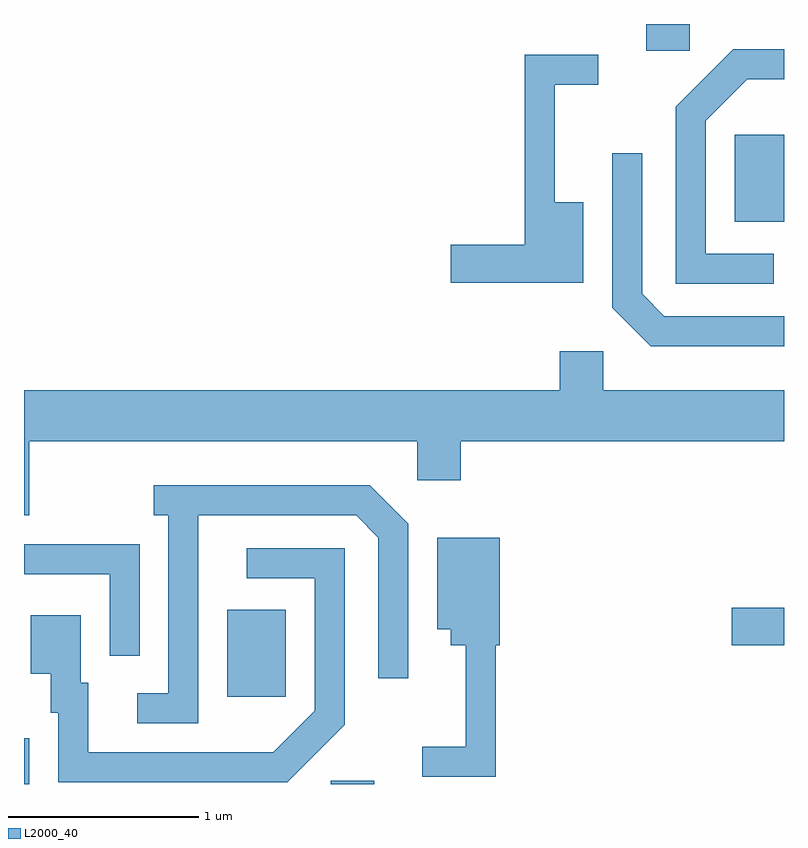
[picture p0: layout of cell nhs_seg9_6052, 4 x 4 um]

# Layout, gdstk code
import gdstk
lib = gdstk.Library(unit=1e-6, precision=1e-09)
def R(c, l, rs):  # rectangles x0, y0, x1, y1
    for r in rs: c.add(gdstk.rectangle(r[:2], r[2:], *l))
def P(c, l, *ps):  # polygons
    for p in ps: c.add(gdstk.Polygon(p, *l))
L2000_40 = (2000, 40)

nhs_seg9_6052 = lib.new_cell('nhs_seg9_6052')
R(nhs_seg9_6052, L2000_40, [(363.611,2014.432,363.639,2014.674), (365.226,2014.432,365.454,2014.449), (364.681,2014.891,364.989,2015.349), (367.336,2015.161,367.611,2015.359), (367.351,2017.391,367.611,2017.849), (366.886,2018.291,367.114,2018.432)])
P(nhs_seg9_6052, L2000_40, [(367.558,2017.224),(367.199,2017.224),(367.199,2017.924),(367.417,2018.141),(367.611,2018.141),(367.611,2018.299),(367.344,2018.299),(367.041,2017.997),(367.041,2017.066),(367.558,2017.066)],
  [(366.554,2017.494),(366.404,2017.494),(366.404,2018.111),(366.633,2018.111),(366.633,2018.269),(366.246,2018.269),(366.246,2017.269),(365.856,2017.269),(365.856,2017.071),(366.554,2017.071)],
  [(367.611,2016.894),(366.982,2016.894),(366.864,2017.012),(366.864,2017.753),(366.706,2017.753),(366.706,2016.939),(366.909,2016.736),(367.611,2016.736)],
  [(363.639,2016.236),(365.681,2016.236),(365.681,2016.031),(365.909,2016.031),(365.909,2016.236),(367.611,2016.236),(367.611,2016.504),(366.659,2016.504),(366.659,2016.709),(366.431,2016.709),(366.431,2016.504),(363.611,2016.504),(363.611,2015.846),(363.639,2015.846)],
  [(364.529,2015.846),(365.359,2015.846),(365.476,2015.729),(365.476,2014.988),(365.634,2014.988),(365.634,2015.802),(365.432,2016.004),(364.293,2016.004),(364.293,2015.846),(364.371,2015.846),(364.371,2014.909),(364.208,2014.909),(364.208,2014.751),(364.529,2014.751)],
  [(366.094,2015.161),(366.114,2015.161),(366.114,2015.729),(365.786,2015.729),(365.786,2015.246),(365.856,2015.246),(365.856,2015.161),(365.936,2015.161),(365.936,2014.629),(365.708,2014.629),(365.708,2014.471),(366.094,2014.471)],
  [(364.219,2015.694),(363.611,2015.694),(363.611,2015.536),(364.061,2015.536),(364.061,2015.108),(364.219,2015.108)],
  [(365.299,2014.744),(365.299,2015.674),(364.783,2015.674),(364.783,2015.516),(365.141,2015.516),(365.141,2014.817),(364.924,2014.599),(363.949,2014.599),(363.949,2014.964),(363.909,2014.964),(363.909,2015.319),(363.646,2015.319),(363.646,2015.011),(363.751,2015.011),(363.751,2014.806),(363.791,2014.806),(363.791,2014.441),(364.997,2014.441)])

lib.write_gds('nhs_seg9_6052.gds')
